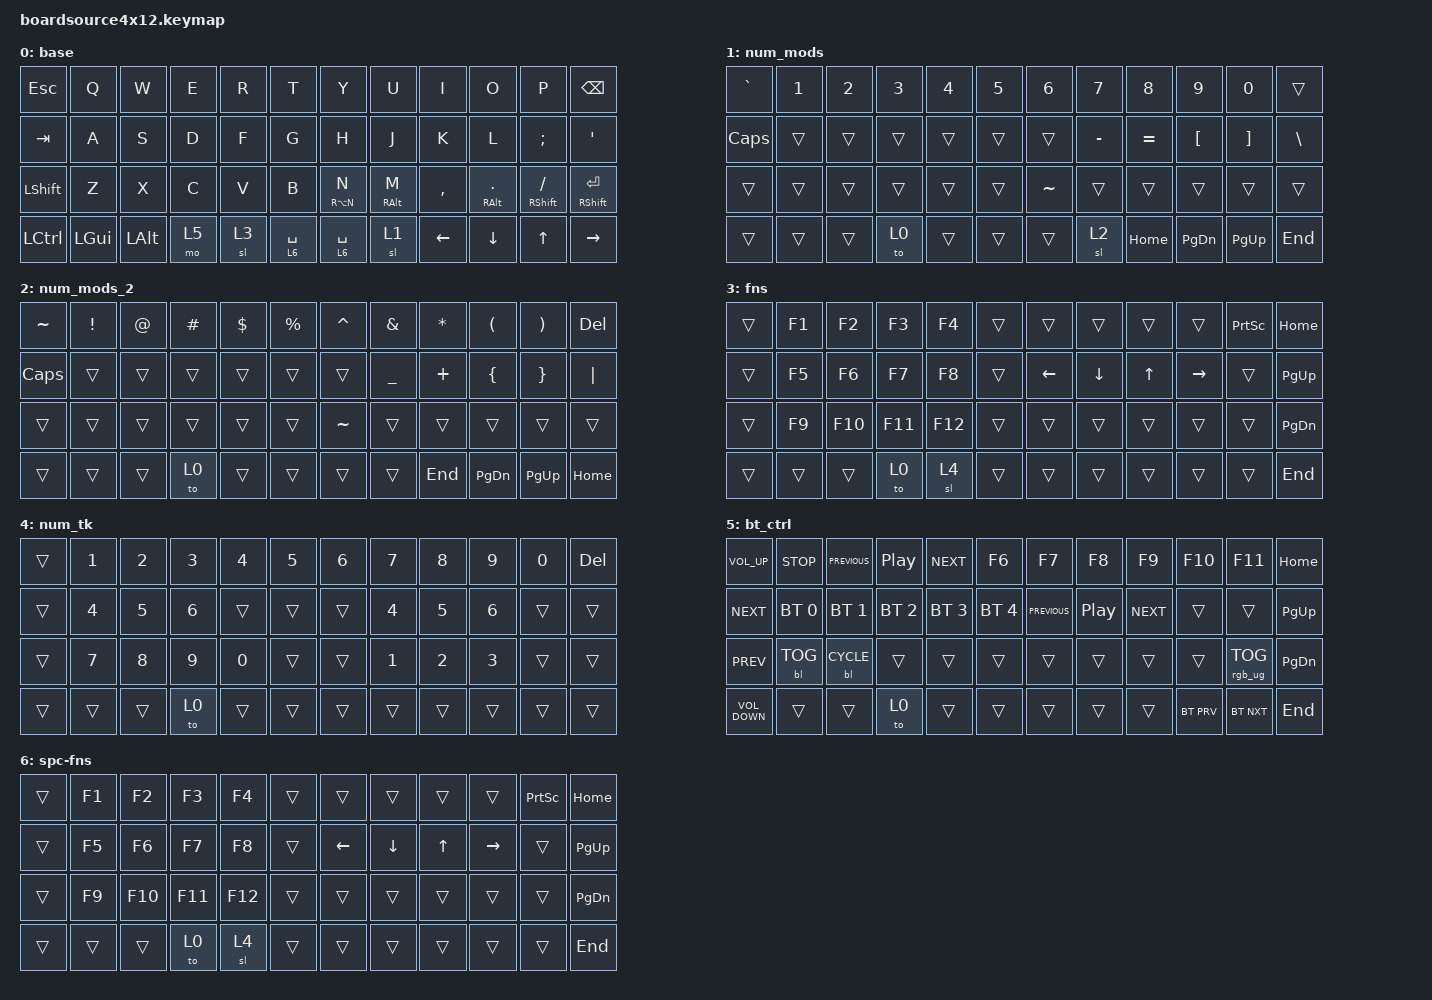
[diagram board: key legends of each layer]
/*
 * Copyright (c) 2021 The ZMK Contributors
 *
 * SPDX-License-Identifier: MIT
 */

#include <behaviors.dtsi>
#include <dt-bindings/zmk/backlight.h>
#include <dt-bindings/zmk/bt.h>
#include <dt-bindings/zmk/keys.h>
#include <dt-bindings/zmk/rgb.h>

#define BT_CTRL     0
#define NUM_TK      1
#define DEFAULT     2
#define NUM_MODS    3
#define FNS         4

&mt { flavor = "tap-preferred"; };

/ {
    combos {
        compatible = "zmk,combos";

        to_bl {
            bindings = <&to 5>;
            key-positions = <40 43>;
            layers = <0>;
            timeout-ms = <500>;
            require-prior-idle-ms = <0>;
        };

        bootloader {
            bindings = <&bootloader>;
            key-positions = <0 11 40 43>;
            timeout-ms = <1000>;
            layers = <0>;
        };

        RESET {
            bindings = <&sys_reset>;
            key-positions = <36 47 40 43>;
        };
    };

    behaviors {
        new_behavior_1: new_behavior_1 {
            compatible = "zmk,behavior-tap-dance";
            label = "NEW_BEHAVIOR_1";
            #binding-cells = <0>;
            bindings = <&kp TAB>, <&caps_word>;
        };

        new_behavior_2: new_behavior_2 {
            compatible = "zmk,behavior-hold-tap";
            label = "NEW_BEHAVIOR_2";
            bindings = <&none>, <&none>;

            #binding-cells = <2>;
            hold-trigger-key-positions = <35>;
            tapping-term-ms = <300>;
            flavor = "tap-preferred";
        };

        lpar: lpar {
            compatible = "zmk,behavior-tap-dance";
            label = "LPAR";
            #binding-cells = <0>;
            tapping-term-ms = <200>;
            bindings = <&kp LSHFT>, <&kp LPAR>;
        };

        rpar: rpar {
            compatible = "zmk,behavior-tap-dance";
            label = "RPAR";
            #binding-cells = <0>;
            tapping-term-ms = <200>;
            bindings = <&kp ENTER>, <&kp RETURN>, <&kp RPAR>;
        };
    };

    macros {
        new_macro: new_macro {
            compatible = "zmk,behavior-macro";
            #binding-cells = <0>;
            bindings = <&lpar>, <&macro_press>, <&kp LSHFT &kp LSHFT>;

            label = "NEW_MACRO";
        };
    };

    keymap {
        compatible = "zmk,keymap";

        base {
            bindings = <
&kp ESC    &kp Q     &kp W     &kp E  &kp R  &kp T        &kp Y        &kp U            &kp I      &kp O              &kp P             &kp BSPC
&kp TAB    &kp A     &kp S     &kp D  &kp F  &kp G        &kp H        &kp J            &kp K      &kp L              &kp SEMI          &kp SQT
&kp LSHFT  &kp Z     &kp X     &kp C  &kp V  &kp B        &mt RA(N) N  &mt RIGHT_ALT M  &kp COMMA  &mt RIGHT_ALT DOT  &mt RSHIFT SLASH  &mt RIGHT_SHIFT RETURN
&kp LCTRL  &kp LGUI  &kp LALT  &mo 5  &sl 3  &lt 6 SPACE  &lt 6 SPACE  &sl 1            &kp LEFT   &kp DOWN           &kp UP            &kp RIGHT
            >;
        };

        up_1 {
            bindings = <
&kp GRAVE  &kp N1  &kp N2  &kp N3  &kp N4  &kp N5  &kp N6     &kp N7     &kp N8     &kp N9     &kp N0     &trans
&kp CAPS   &trans  &trans  &trans  &trans  &trans  &trans     &kp MINUS  &kp EQUAL  &kp LBKT   &kp RBKT   &kp BSLH
&trans     &trans  &trans  &trans  &trans  &trans  &kp TILDE  &trans     &trans     &trans     &trans     &trans
&trans     &trans  &trans  &to 0   &trans  &trans  &trans     &sl 2      &kp HOME   &kp PG_DN  &kp PG_UP  &kp END
            >;

            label = "num_mods";
        };

        up_2 {
            label = "num_mods_2";
            bindings = <
&kp TILDE  &kp EXCLAMATION  &kp AT_SIGN  &kp HASH  &kp DOLLAR  &kp PERCENT  &kp CARET  &kp AMPERSAND   &kp ASTERISK  &kp LEFT_PARENTHESIS  &kp RIGHT_PARENTHESIS  &kp DEL
&kp CAPS   &trans           &trans       &trans    &trans      &trans       &trans     &kp UNDERSCORE  &kp PLUS      &kp LEFT_BRACE        &kp RIGHT_BRACE        &kp PIPE
&trans     &trans           &trans       &trans    &trans      &trans       &kp TILDE  &trans          &trans        &trans                &trans                 &trans
&trans     &trans           &trans       &to 0     &trans      &trans       &trans     &trans          &kp END       &kp PG_DN             &kp PG_UP              &kp HOME
            >;
        };

        dn_1 {
            bindings = <
&trans  &kp F1  &kp F2   &kp F3   &kp F4   &trans  &trans    &trans    &trans  &trans     &kp PRINTSCREEN  &kp HOME
&trans  &kp F5  &kp F6   &kp F7   &kp F8   &trans  &kp LEFT  &kp DOWN  &kp UP  &kp RIGHT  &trans           &kp PG_UP
&trans  &kp F9  &kp F10  &kp F11  &kp F12  &trans  &trans    &trans    &trans  &trans     &trans           &kp PAGE_DOWN
&trans  &trans  &trans   &to 0    &sl 4    &trans  &trans    &trans    &trans  &trans     &trans           &kp END
            >;

            label = "fns";
        };

        dn_2 {
            bindings = <
&trans  &kp N1  &kp N2  &kp N3  &kp N4  &kp N5  &kp N6  &kp N7  &kp N8  &kp N9  &kp N0  &kp DEL
&trans  &kp N4  &kp N5  &kp N6  &trans  &trans  &trans  &kp N4  &kp N5  &kp N6  &trans  &trans
&trans  &kp N7  &kp N8  &kp N9  &kp N0  &trans  &trans  &kp N1  &kp N2  &kp N3  &trans  &trans
&trans  &trans  &trans  &to 0   &trans  &trans  &trans  &trans  &trans  &trans  &trans  &trans
            >;

            label = "num_tk";
        };

        bt_ctrl {
            bindings = <
&kp C_VOL_UP       &kp C_STOP    &kp C_PREVIOUS  &kp C_PLAY_PAUSE  &kp C_NEXT    &kp F6        &kp F7          &kp F8            &kp F9      &kp F10     &kp F11          &kp HOME
&kp C_NEXT         &bt BT_SEL 0  &bt BT_SEL 1    &bt BT_SEL 2      &bt BT_SEL 3  &bt BT_SEL 4  &kp C_PREVIOUS  &kp C_PLAY_PAUSE  &kp C_NEXT  &trans      &trans           &kp PG_UP
&kp C_PREV         &bl BL_TOG    &bl BL_CYCLE    &trans            &trans        &trans        &trans          &trans            &trans      &trans      &rgb_ug RGB_TOG  &kp PG_DN
&kp C_VOLUME_DOWN  &trans        &trans          &to 0             &trans        &trans        &trans          &trans            &trans      &bt BT_PRV  &bt BT_NXT       &kp END
            >;

            label = "bt_ctrl";
        };

        hjkl {
            label = "spc-fns";
            bindings = <
&trans  &kp F1  &kp F2   &kp F3   &kp F4   &trans  &trans    &trans    &trans  &trans     &kp PRINTSCREEN  &kp HOME
&trans  &kp F5  &kp F6   &kp F7   &kp F8   &trans  &kp LEFT  &kp DOWN  &kp UP  &kp RIGHT  &trans           &kp PG_UP
&trans  &kp F9  &kp F10  &kp F11  &kp F12  &trans  &trans    &trans    &trans  &trans     &trans           &kp PAGE_DOWN
&trans  &trans  &trans   &to 0    &sl 4    &trans  &trans    &trans    &trans  &trans     &trans           &kp END
            >;
        };
    };
};
